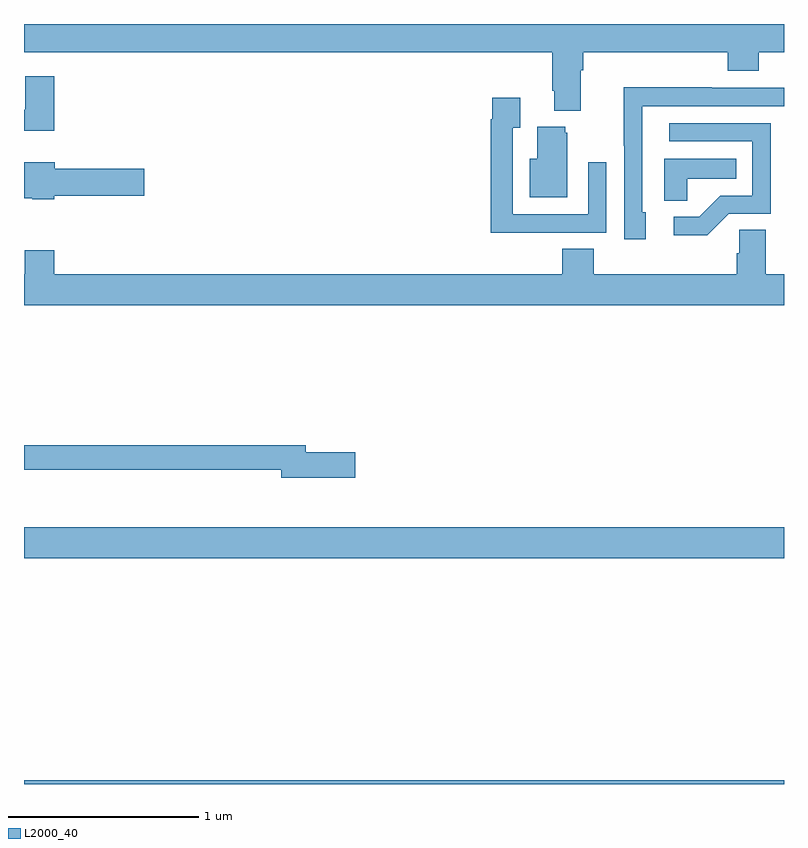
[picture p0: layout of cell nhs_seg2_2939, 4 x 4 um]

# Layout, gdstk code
import gdstk
lib = gdstk.Library(unit=1e-6, precision=1e-09)
def R(c, l, rs):  # rectangles x0, y0, x1, y1
    for r in rs: c.add(gdstk.rectangle(r[:2], r[2:], *l))
def P(c, l, *ps):  # polygons
    for p in ps: c.add(gdstk.Polygon(p, *l))
L2000_40 = (2000, 40)

nhs_seg2_2939 = lib.new_cell('nhs_seg2_2939')
R(nhs_seg2_2939, L2000_40, [(265,627.8,269,627.82), (265,628.988,269,629.152)])
P(nhs_seg2_2939, L2000_40, [(267.931,631.556),(267.944,631.556),(267.944,631.652),(268.703,631.652),(268.703,631.553),(268.868,631.553),(268.868,631.652),(269,631.652),(269,631.8),(265,631.8),(265,631.652),(267.779,631.652),(267.779,631.45),(267.791,631.45),(267.791,631.343),(267.931,631.343)],
  [(265.16,631.525),(265.007,631.525),(265.007,631.348),(265,631.348),(265,631.238),(265.16,631.238)],
  [(268.273,630.81),(268.254,630.81),(268.254,631.368),(269,631.368),(269,631.464),(268.619,631.464),(268.619,631.466),(268.156,631.466),(268.156,631.159),(268.158,631.159),(268.158,630.666),(268.273,630.666)],
  [(267.749,630.702),(268.065,630.702),(268.065,631.072),(267.969,631.072),(267.969,630.798),(267.573,630.798),(267.573,631.255),(267.613,631.255),(267.613,631.411),(267.465,631.411),(267.465,631.298),(267.457,631.298),(267.457,630.701),(267.749,630.701)],
  [(268.71,630.801),(268.929,630.801),(268.929,631.278),(268.395,631.278),(268.395,631.182),(268.833,631.182),(268.833,630.897),(268.664,630.897),(268.553,630.786),(268.419,630.786),(268.419,630.689),(268.597,630.689)],
  [(267.859,631.227),(267.848,631.227),(267.848,631.258),(267.701,631.258),(267.701,631.09),(267.662,631.09),(267.662,630.887),(267.859,630.887)],
  [(268.491,630.986),(268.748,630.986),(268.748,631.09),(268.37,631.09),(268.37,630.871),(268.491,630.871)],
  [(265.158,630.895),(265.633,630.895),(265.633,631.037),(265.162,631.037),(265.162,631.072),(265,631.072),(265,630.884),(265.044,630.884),(265.044,630.878),(265.158,630.878)],
  [(269,630.484),(268.903,630.484),(268.903,630.716),(268.764,630.716),(268.764,630.593),(268.751,630.593),(268.751,630.484),(267.998,630.484),(267.998,630.617),(267.833,630.617),(267.833,630.484),(265.16,630.484),(265.16,630.608),(265.003,630.608),(265.003,630.484),(265,630.484),(265,630.32),(269,630.32)],
  [(266.743,629.546),(266.482,629.546),(266.482,629.582),(265,629.582),(265,629.454),(266.354,629.454),(266.354,629.411),(266.743,629.411)])

lib.write_gds('nhs_seg2_2939.gds')
